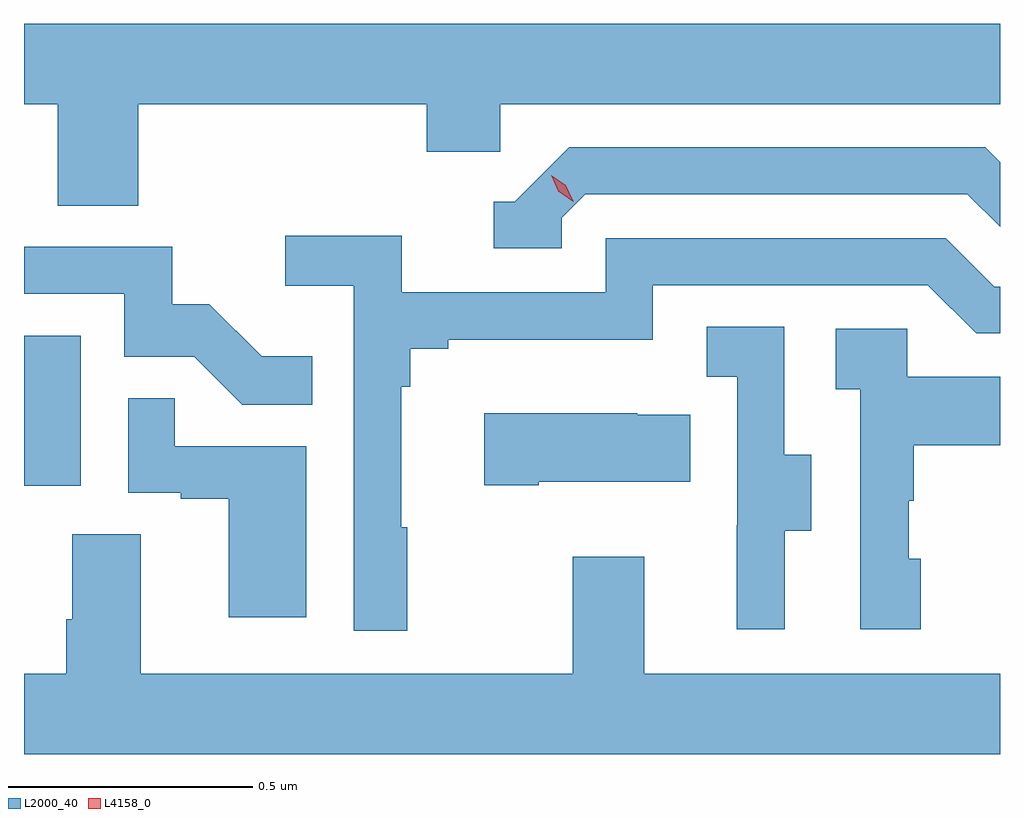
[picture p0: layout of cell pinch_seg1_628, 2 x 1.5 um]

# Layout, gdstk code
import gdstk
lib = gdstk.Library(unit=1e-6, precision=1e-09)
def R(c, l, rs):  # rectangles x0, y0, x1, y1
    for r in rs: c.add(gdstk.rectangle(r[:2], r[2:], *l))
def P(c, l, *ps):  # polygons
    for p in ps: c.add(gdstk.Polygon(p, *l))
L2000_40 = (2000, 40)
L4158_0 = (4158, 0)

pinch_seg1_628 = lib.new_cell('pinch_seg1_628')
R(pinch_seg1_628, L2000_40, [(1121.078,513.654,1121.194,513.961)])
P(pinch_seg1_628, L2000_40, [(1121.312,514.436),(1121.903,514.436),(1121.903,514.338),(1122.054,514.338),(1122.054,514.436),(1123.078,514.436),(1123.078,514.6),(1121.078,514.6),(1121.078,514.436),(1121.147,514.436),(1121.147,514.228),(1121.312,514.228)],
  [(1122.18,514.203),(1122.228,514.251),(1123.011,514.251),(1123.078,514.184),(1123.078,514.317),(1123.048,514.347),(1122.195,514.347),(1122.084,514.236),(1122.041,514.236),(1122.041,514.14),(1122.18,514.14)],
  [(1121.863,513.569),(1121.851,513.569),(1121.851,513.857),(1121.87,513.857),(1121.87,513.934),(1121.947,513.934),(1121.947,513.953),(1122.366,513.953),(1122.366,514.065),(1122.93,514.065),(1123.029,513.966),(1123.078,513.966),(1123.078,514.062),(1123.066,514.062),(1122.967,514.161),(1122.27,514.161),(1122.27,514.05),(1121.852,514.05),(1121.852,514.166),(1121.613,514.166),(1121.613,514.064),(1121.754,514.064),(1121.754,513.357),(1121.863,513.357)],
  [(1121.669,513.919),(1121.565,513.919),(1121.458,514.026),(1121.382,514.026),(1121.382,514.143),(1121.078,514.143),(1121.078,514.047),(1121.283,514.047),(1121.283,513.918),(1121.427,513.918),(1121.525,513.82),(1121.669,513.82)],
  [(1122.637,513.562),(1122.691,513.562),(1122.691,513.717),(1122.636,513.717),(1122.636,513.98),(1122.477,513.98),(1122.477,513.877),(1122.54,513.877),(1122.54,513.573),(1122.539,513.573),(1122.539,513.36),(1122.637,513.36)],
  [(1122.916,513.504),(1122.891,513.504),(1122.891,513.623),(1122.901,513.623),(1122.901,513.737),(1123.078,513.737),(1123.078,513.877),(1122.888,513.877),(1122.888,513.975),(1122.741,513.975),(1122.741,513.851),(1122.792,513.851),(1122.792,513.36),(1122.916,513.36)],
  [(1121.656,513.735),(1121.387,513.735),(1121.387,513.833),(1121.292,513.833),(1121.292,513.639),(1121.399,513.639),(1121.399,513.627),(1121.498,513.627),(1121.498,513.384),(1121.656,513.384)],
  [(1122.133,513.662),(1122.443,513.662),(1122.443,513.799),(1122.335,513.799),(1122.335,513.802),(1122.021,513.802),(1122.021,513.655),(1122.133,513.655)],
  [(1123.078,513.268),(1122.349,513.268),(1122.349,513.508),(1122.202,513.508),(1122.202,513.268),(1121.317,513.268),(1121.317,513.554),(1121.177,513.554),(1121.177,513.38),(1121.165,513.38),(1121.165,513.268),(1121.078,513.268),(1121.078,513.104),(1123.078,513.104)])
P(pinch_seg1_628, L4158_0, [(1122.203,514.236),(1122.173,514.257),(1122.158,514.29),(1122.158,514.29),(1122.158,514.29),(1122.188,514.27),(1122.204,514.237),(1122.204,514.236)])

lib.write_gds('pinch_seg1_628.gds')
